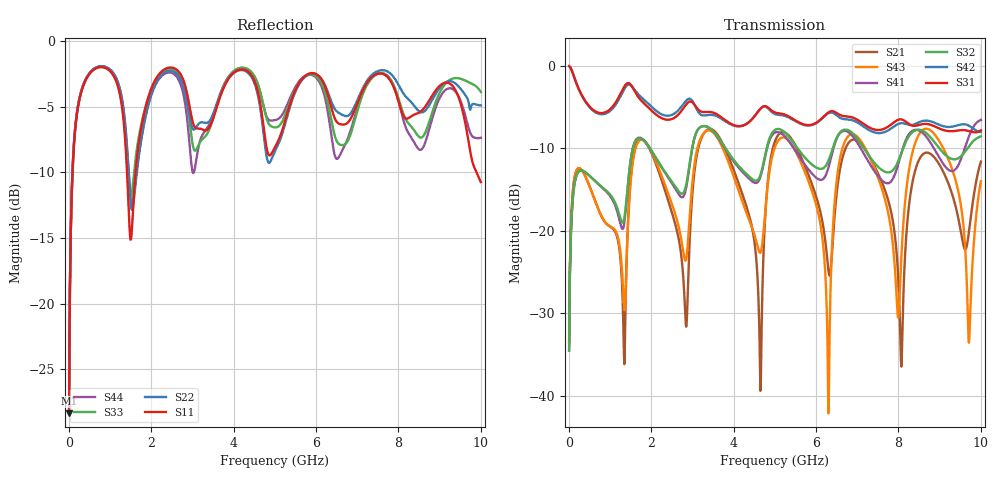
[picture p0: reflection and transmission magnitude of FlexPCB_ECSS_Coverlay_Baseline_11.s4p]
! TOUCHSTONE file generated by CST MICROWAVE STUDIO
! Date and time: Sun Jul  5 19:09:37 2026
! Project name: FlexPCB_ECSS_Coverlay_Baseline.cst
! Parameters = {Gap=0.6; GroundW=5.6; Hadh=0.025; Hcov=0.025; Hsub=0.1; L=50; Tcu=0.035; W=0.2}
! Header version: 2024
! Port assignment regex: !\s*Touchstone port\s*([0-9]+)\s*=\s*(CST MWS port|CST DES external port|CST DES block port)\s*(.+)\s* \(\"(.*)\"\)(\s*mode\s*([0-9]+))?.*
! Touchstone port assignment:
! Touchstone port 1 = CST MWS port 1 ("")
! Touchstone port 2 = CST MWS port 2 ("")
! Touchstone port 3 = CST MWS port 3 ("")
! Touchstone port 4 = CST MWS port 4 ("")
# GHz S MA R 50
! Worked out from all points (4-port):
!   1002 points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, 10 MHz to 10 GHz, reference 50 ohm
!   strongest paths, dB at 10 MHz, 2.51 GHz, 5.01 GHz, 7.503 GHz, 10 GHz:
!     S31: 0.0, -6.4, -5.6, -7.8, -7.8
!     S42: 0.0, -5.9, -5.8, -8.1, -8.0
!     S32: -34.5, -14.1, -7.7, -12.2, -8.5
!     S41: -34.5, -14.3, -8.1, -13.3, -6.5
!     S43: -33.5, -16.8, -9.7, -13.5, -14.0
!     S21: -33.5, -17.9, -9.1, -13.0, -11.6
!   lowest |S11| = -28.4 dB at 10 MHz (marker M1), VSWR 1.08, Z = 49.7 - j3.81 ohm
!   |S11| at or under -10 dB: start of sweep to 91.94 MHz; 1.415 GHz to 1.622 GHz (206.8 MHz wide, 13.6 % of centre); 9.896 GHz to end of sweep
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0.01  0.03823 -91.7  0.02107 85.1  0.9977 -2.6  0.01885 85.1
      0.02107 85.1  0.03873 -91.8  0.01885 85.1  0.9977 -2.7
      0.9977 -2.6  0.01885 85.1  0.03823 -91.7  0.02107 85.1
      0.01885 85.1  0.9977 -2.7  0.02107 85.1  0.03873 -91.8
1.49  0.1797 162.9  0.1875 87.2  0.7785 -169.1  0.2548 -92.1
      0.1875 87.2  0.2544 153.7  0.2522 -95.3  0.7695 -164.9
      0.7785 -169.1  0.2522 -95.3  0.2552 167.7  0.1814 78.4
      0.2548 -92.1  0.7695 -164.9  0.1814 78.4  0.2674 153.3
3.02  0.4859 163.9  0.1927 78.9  0.5957 27.9  0.339 98.4
      0.1927 78.9  0.4615 171.3  0.3405 95.7  0.6023 22.9
      0.5957 27.9  0.3405 95.7  0.395 162.4  0.2198 109.8
      0.339 98.4  0.6023 22.9  0.2198 109.8  0.3147 171.1
4.65  0.5751 150.0  0.01071 -136.1  0.5499 -133.6  0.2125 -88.1
      0.01071 -136.1  0.5525 150.4  0.2178 -89.5  0.551 -133.8
      0.5499 -133.6  0.2178 -89.5  0.6388 158.9  0.07365 15.2
      0.2125 -88.1  0.551 -133.8  0.07365 15.2  0.6345 160.8
4.86  0.368 165.9  0.2327 68.8  0.5535 -165.0  0.3477 -108.6
      0.2327 68.8  0.3443 169.7  0.3574 -109.0  0.545 -165.4
      0.5535 -165.0  0.3574 -109.0  0.4834 165.7  0.2194 44.1
      0.3477 -108.6  0.545 -165.4  0.2194 44.1  0.5008 168.8
8.07  0.5442 156.6  0.01502 160.2  0.4745 -147.5  0.2958 -75.5
      0.01502 160.2  0.6514 165.0  0.2964 -87.2  0.4501 -140.3
      0.4745 -147.5  0.2964 -87.2  0.5572 158.4  0.06917 107.0
      0.2958 -75.5  0.4501 -140.3  0.06917 107.0  0.5366 152.8
10  0.2907 157.4  0.263 38.0  0.4071 9.3  0.4714 64.3
    0.263 38.0  0.5694 171.0  0.3745 54.1  0.3978 6.2
    0.4071 9.3  0.3745 54.1  0.6412 163.9  0.2 11.7
    0.4714 64.3  0.3978 6.2  0.2 11.7  0.4289 176.5
